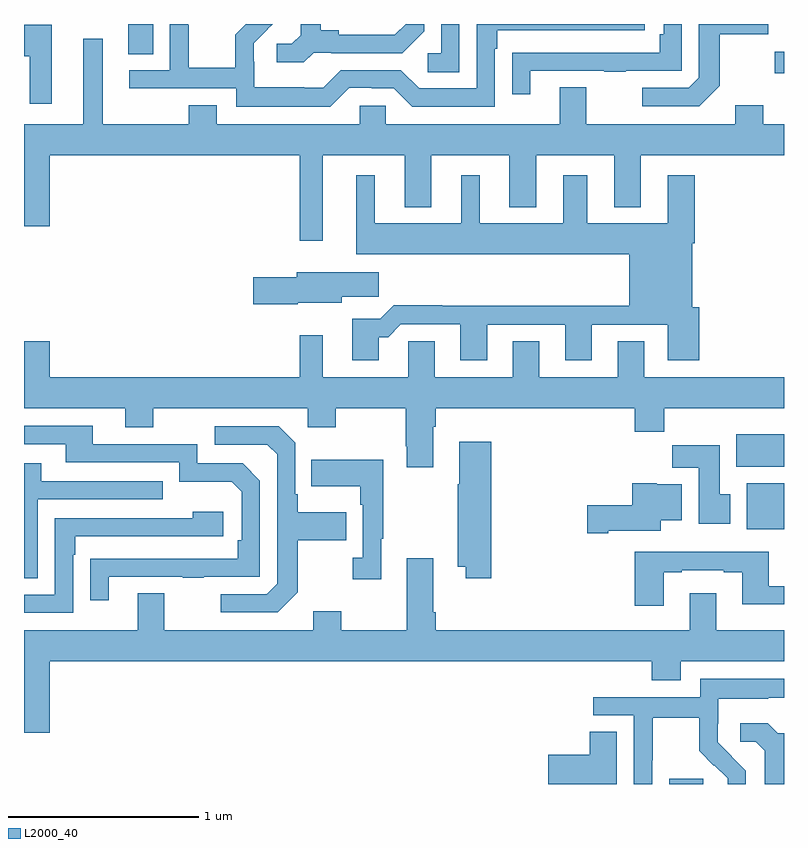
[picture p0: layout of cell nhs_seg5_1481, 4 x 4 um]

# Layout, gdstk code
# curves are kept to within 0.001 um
import gdstk
lib = gdstk.Library(unit=1e-6, precision=1e-09)
def R(c, l, rs):  # rectangles x0, y0, x1, y1
    for r in rs: c.add(gdstk.rectangle(r[:2], r[2:], *l))
def P(c, l, *ps):  # polygons
    for p in ps: c.add(gdstk.Polygon(p, *l))
L2000_40 = (2000, 40)

nhs_seg5_1481 = lib.new_cell('nhs_seg5_1481')
R(nhs_seg5_1481, L2000_40, [(204.395,838.799,204.574,838.827), (204.803,840.14,205,840.382), (204.749,840.47,205,840.64), (204.951,842.541,205,842.654), (201.548,842.641,201.679,842.799)])
P(nhs_seg5_1481, L2000_40, [(203.665,842.553),(204.055,842.553),(204.055,842.548),(204.167,842.548),(204.167,842.553),(204.462,842.553),(204.462,842.799),(204.366,842.799),(204.366,842.746),(204.346,842.746),(204.346,842.649),(203.671,842.649),(203.671,842.648),(203.569,842.648),(203.569,842.43),(203.665,842.43)],
  [(204.661,842.473),(204.661,842.746),(204.917,842.746),(204.917,842.799),(204.552,842.799),(204.552,842.517),(204.498,842.463),(204.255,842.463),(204.255,842.367),(204.555,842.367)],
  [(202.713,842.463),(202.829,842.463),(202.829,842.46),(202.947,842.46),(203.043,842.364),(203.478,842.364),(203.478,842.669),(203.491,842.669),(203.491,842.766),(204.268,842.766),(204.268,842.799),(203.382,842.799),(203.382,842.46),(203.079,842.46),(202.983,842.556),(202.668,842.556),(202.575,842.463),(202.475,842.463),(202.475,842.467),(202.212,842.467),(202.212,842.601),(202.21,842.601),(202.21,842.698),(202.284,842.772),(202.283,842.773),(202.309,842.799),(202.167,842.799),(202.111,842.743),(202.111,842.569),(201.867,842.569),(201.867,842.792),(201.864,842.792),(201.864,842.799),(201.768,842.799),(201.768,842.556),(201.555,842.556),(201.555,842.46),(202.116,842.46),(202.116,842.363),(202.613,842.363)],
  [(202.524,842.649),(202.618,842.649),(202.618,842.646),(202.99,842.646),(203.106,842.762),(203.106,842.799),(203.009,842.799),(202.952,842.742),(202.657,842.742),(202.657,842.765),(202.561,842.765),(202.561,842.799),(202.457,842.799),(202.457,842.741),(202.41,842.694),(202.329,842.694),(202.329,842.597),(202.472,842.597)],
  [(203.292,842.799),(203.196,842.799),(203.196,842.646),(203.124,842.646),(203.124,842.545),(203.292,842.545)],
  [(201.145,842.794),(201,842.794),(201,842.63),(201.029,842.63),(201.029,842.379),(201.145,842.379)],
  [(202.573,842.108),(203.003,842.108),(203.003,841.835),(203.143,841.835),(203.143,842.108),(203.555,842.108),(203.555,841.835),(203.695,841.835),(203.695,842.108),(204.107,842.108),(204.107,841.835),(204.247,841.835),(204.247,842.108),(205,842.108),(205,842.272),(204.891,842.272),(204.891,842.371),(204.743,842.371),(204.743,842.272),(203.959,842.272),(203.959,842.467),(203.819,842.467),(203.819,842.272),(202.905,842.272),(202.905,842.37),(202.767,842.37),(202.767,842.272),(202.015,842.272),(202.015,842.371),(201.868,842.371),(201.868,842.272),(201.415,842.272),(201.415,842.722),(201.311,842.722),(201.311,842.272),(201,842.272),(201,841.734),(201.136,841.734),(201.136,842.108),(202.452,842.108),(202.452,841.659),(202.573,841.659)],
  [(202.867,841.151),(202.916,841.151),(202.983,841.218),(203.297,841.218),(203.297,841.029),(203.437,841.029),(203.437,841.215),(203.849,841.215),(203.849,841.029),(203.989,841.029),(203.989,841.215),(204.389,841.215),(204.389,841.029),(204.554,841.029),(204.554,841.308),(204.517,841.308),(204.517,841.646),(204.53,841.646),(204.53,842.002),(204.389,842.002),(204.389,841.75),(203.965,841.75),(203.965,842.002),(203.837,842.002),(203.837,841.75),(203.398,841.75),(203.398,842.002),(203.3,842.002),(203.3,841.75),(202.846,841.75),(202.846,842.002),(202.748,842.002),(202.748,841.586),(204.185,841.586),(204.185,841.316),(203.201,841.316),(203.201,841.319),(202.946,841.319),(202.876,841.249),(202.727,841.249),(202.727,841.029),(202.867,841.029)],
  [(202.44,841.331),(202.672,841.331),(202.672,841.363),(202.867,841.363),(202.867,841.492),(202.436,841.492),(202.436,841.466),(202.206,841.466),(202.206,841.324),(202.44,841.324)],
  [(203.155,840.68),(203.168,840.68),(203.168,840.776),(204.215,840.776),(204.215,840.652),(204.371,840.652),(204.371,840.776),(205,840.776),(205,840.94),(204.265,840.94),(204.265,841.13),(204.125,841.13),(204.125,840.94),(203.713,840.94),(203.713,841.13),(203.573,841.13),(203.573,840.94),(203.161,840.94),(203.161,841.13),(203.022,841.13),(203.022,840.94),(202.573,840.94),(202.573,841.162),(202.452,841.162),(202.452,840.94),(201.136,840.94),(201.136,841.129),(201,841.129),(201,840.776),(201.533,840.776),(201.533,840.677),(201.681,840.677),(201.681,840.776),(202.494,840.776),(202.494,840.677),(202.641,840.677),(202.641,840.776),(203.008,840.776),(203.008,840.577),(203.015,840.577),(203.015,840.465),(203.155,840.465)],
  [(201.445,839.889),(201.835,839.889),(201.835,839.884),(201.947,839.884),(201.947,839.889),(202.242,839.889),(202.242,840.396),(202.152,840.486),(201.912,840.486),(201.912,840.588),(201.361,840.588),(201.361,840.684),(201,840.684),(201,840.588),(201.221,840.588),(201.221,840.492),(201.816,840.492),(201.816,840.389),(202.093,840.389),(202.146,840.336),(202.146,840.082),(202.126,840.082),(202.126,839.985),(201.349,839.984),(201.349,839.766),(201.445,839.766)],
  [(202.441,839.809),(202.441,840.082),(202.697,840.082),(202.697,840.229),(202.441,840.229),(202.441,840.325),(202.428,840.325),(202.428,840.594),(202.341,840.681),(202.005,840.681),(202.005,840.585),(202.281,840.585),(202.332,840.534),(202.332,839.853),(202.278,839.799),(202.035,839.799),(202.035,839.703),(202.335,839.703)],
  [(203.459,840.601),(203.291,840.601),(203.291,840.377),(203.284,840.377),(203.284,839.942),(203.324,839.942),(203.324,839.883),(203.459,839.883)],
  [(204.718,840.324),(204.661,840.324),(204.661,840.582),(204.412,840.582),(204.412,840.464),(204.551,840.464),(204.551,840.168),(204.718,840.168)],
  [(202.879,840.089),(202.891,840.089),(202.891,840.505),(202.513,840.505),(202.513,840.365),(202.77,840.365),(202.77,840.269),(202.782,840.269),(202.782,839.99),(202.731,839.99),(202.731,839.877),(202.879,839.877)],
  [(201.072,840.297),(201.731,840.297),(201.731,840.393),(201.091,840.393),(201.091,840.487),(201,840.487),(201,839.881),(201.072,839.881)],
  [(204.076,840.131),(204.352,840.131),(204.352,840.188),(204.463,840.188),(204.463,840.376),(204.33,840.376),(204.33,840.382),(204.2,840.382),(204.2,840.266),(203.964,840.266),(203.964,840.119),(204.076,840.119)],
  [(201.258,840.005),(201.271,840.005),(201.271,840.102),(202.048,840.102),(202.048,840.232),(201.887,840.232),(201.887,840.198),(201.162,840.198),(201.162,839.796),(201,839.796),(201,839.7),(201.258,839.7)],
  [(204.367,839.913),(204.463,839.913),(204.463,839.925),(204.683,839.925),(204.683,839.913),(204.779,839.913),(204.779,839.744),(205,839.744),(205,839.841),(204.919,839.841),(204.919,840.022),(204.215,840.022),(204.215,839.736),(204.367,839.736)],
  [(201.136,839.444),(204.305,839.444),(204.305,839.345),(204.457,839.345),(204.457,839.444),(205,839.444),(205,839.608),(204.643,839.608),(204.643,839.803),(204.503,839.803),(204.503,839.608),(203.168,839.608),(203.168,839.704),(203.155,839.704),(203.155,839.986),(203.015,839.986),(203.015,839.608),(202.671,839.608),(202.671,839.707),(202.523,839.707),(202.523,839.608),(201.739,839.608),(201.739,839.803),(201.599,839.803),(201.599,839.608),(201,839.608),(201,839.07),(201.136,839.07)],
  [(204.306,838.924),(204.309,838.924),(204.309,839.148),(204.553,839.148),(204.553,838.973),(204.63,838.896),(204.633,838.899),(204.704,838.829),(204.704,838.799),(204.798,838.799),(204.798,838.87),(204.652,839.018),(204.652,839.115),(204.654,839.115),(204.654,839.249),(204.917,839.249),(204.917,839.253),(205,839.253),(205,839.353),(204.558,839.353),(204.558,839.256),(203.997,839.256),(203.997,839.16),(204.21,839.16),(204.21,838.799),(204.306,838.799)],
  [(205,839.067),(204.966,839.067),(204.914,839.119),(204.771,839.119),(204.771,839.022),(204.852,839.022),(204.899,838.975),(204.899,838.799),(205,838.799)],
  [(204.121,839.075),(203.978,839.075),(203.978,838.952),(203.76,838.952),(203.76,838.799),(204.121,838.799)])

lib.write_gds('nhs_seg5_1481.gds')
